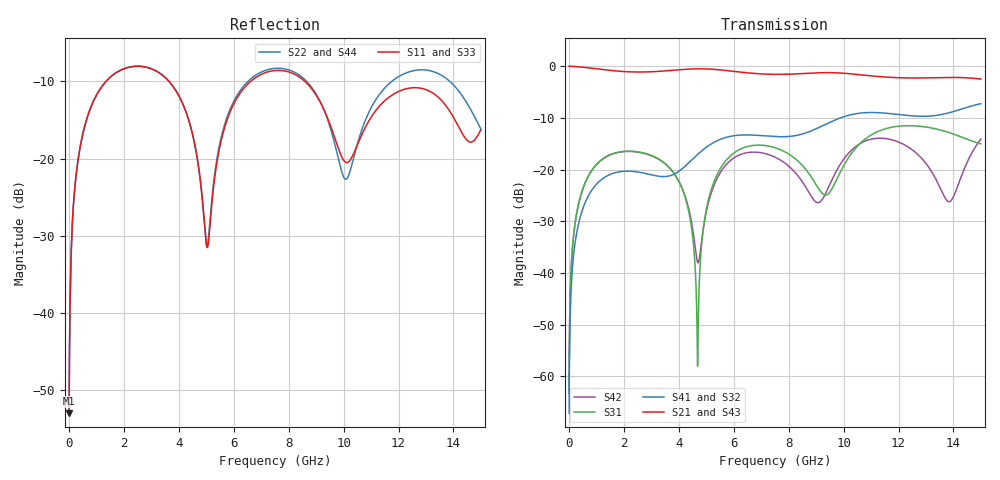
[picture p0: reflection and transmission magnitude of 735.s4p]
! Created with skrf 1.8.0 (http://scikit-rf.org).
# GHz S RI R 50.0
!freq ReS11 ImS11 ReS12 ImS12 ReS13 ImS13
! ReS14 ImS14
! ReS21 ImS21 ReS22 ImS22 ReS23 ImS23
! ReS24 ImS24
! ReS31 ImS31 ReS32 ImS32 ReS33 ImS33
! ReS34 ImS34
! ReS41 ImS41 ReS42 ImS42 ReS43 ImS43
! ReS44 ImS44
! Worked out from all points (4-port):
!   2499 points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, 5 MHz to 15 GHz, reference 50 ohm
!   strongest paths, dB at 5 MHz, 3.476 GHz, 7.19 GHz, 11.1 GHz, 15 GHz:
!     S21: 0.0, -0.9, -1.6, -1.9, -2.5
!     S43: 0.0, -0.9, -1.6, -1.9, -2.5
!     S41: -67.2, -21.4, -13.5, -9.0, -7.3
!     S32: -67.2, -21.4, -13.5, -9.0, -7.3
!     S31: -63.3, -18.8, -15.4, -13.0, -15.0
!     S42: -63.3, -18.8, -17.0, -14.0, -14.1
!   lowest |S11| = -53.0 dB at 5 MHz (marker M1), VSWR 1.00, Z = 50.2 + j0.137 ohm
!   |S11| at or under -10 dB: start of sweep to 1.355 GHz; 3.637 GHz to 6.621 GHz (2.984 GHz wide, 58.2 % of centre); 8.584 GHz to end of sweep
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0.005  0.00178 0.00136  0.9982 -0.00347  8.91e-05 0.000679  -8.66e-05 -0.00043
       0.9982 -0.00347  0.00178 0.00136  -8.66e-05 -0.00043  8.9e-05 0.000679
       8.91e-05 0.000679  -8.66e-05 -0.00043  0.00178 0.00136  0.9982 -0.00347
       -8.66e-05 -0.00043  8.9e-05 0.000679  0.9982 -0.00347  0.00178 0.00136
0.3626511  0.0348 0.1009  0.9519 -0.2474  0.0162 0.0452  -0.0134 -0.0279
           0.9519 -0.2474  0.0349 0.1009  -0.0134 -0.0279  0.016 0.0453
           0.0162 0.0452  -0.0134 -0.0279  0.0348 0.1009  0.9519 -0.2474
           -0.0134 -0.0279  0.016 0.0453  0.9519 -0.2474  0.0349 0.1009
1.77574  0.337 0.1385  0.383 -0.8084  0.1431 0.0321  -0.0922 0.0204
         0.383 -0.8084  0.3376 0.1377  -0.0922 0.0204  0.1419 0.0347
         0.1431 0.0321  -0.0922 0.0204  0.3369 0.1384  0.383 -0.8084
         -0.0922 0.0204  0.1419 0.0347  0.383 -0.8084  0.3375 0.1378
4.689454  0.0447 -0.0857  -0.9018 -0.2702  0.00127 0.000668  -0.0357 0.1356
          -0.9018 -0.2702  0.0438 -0.0839  -0.0364 0.1354  -0.0124 -0.00239
          0.00127 0.000668  -0.0364 0.1354  0.044 -0.0847  -0.9019 -0.2701
          -0.0357 0.1356  -0.0124 -0.00239  -0.9019 -0.2701  0.0438 -0.0827
5.814923  0.118 0.1485  -0.8119 0.3893  0.1078 0.0735  0.1148 0.1728
          -0.8119 0.3893  0.1251 0.153  0.1139 0.1734  0.0788 0.0877
          0.1078 0.0735  0.1139 0.1734  0.1182 0.15  -0.8116 0.3892
          0.1148 0.1728  0.0788 0.0877  -0.8116 0.3892  0.1261 0.1539
10.12297  0.0938 -0.00824  0.8429 0.0942  0.0119 0.1227  0.0287 -0.33
          0.8429 0.0942  0.0742 0.0022  0.0308 -0.3292  -0.0224 0.1362
          0.0119 0.1227  0.0308 -0.3292  0.098 -0.00915  0.8426 0.0968
          0.0287 -0.33  -0.0224 0.1362  0.8426 0.0968  0.0704 -0.000243
15  0.137 0.0693  -0.7133 -0.229  -0.1704 0.0473  -0.1339 0.4122
    -0.7133 -0.229  0.114 -0.1053  -0.1399 0.41  0.0856 0.1778
    -0.1704 0.0473  -0.1399 0.41  0.1347 0.0718  -0.7122 -0.2337
    -0.1339 0.4122  0.0856 0.1778  -0.7122 -0.2337  0.1129 -0.104
